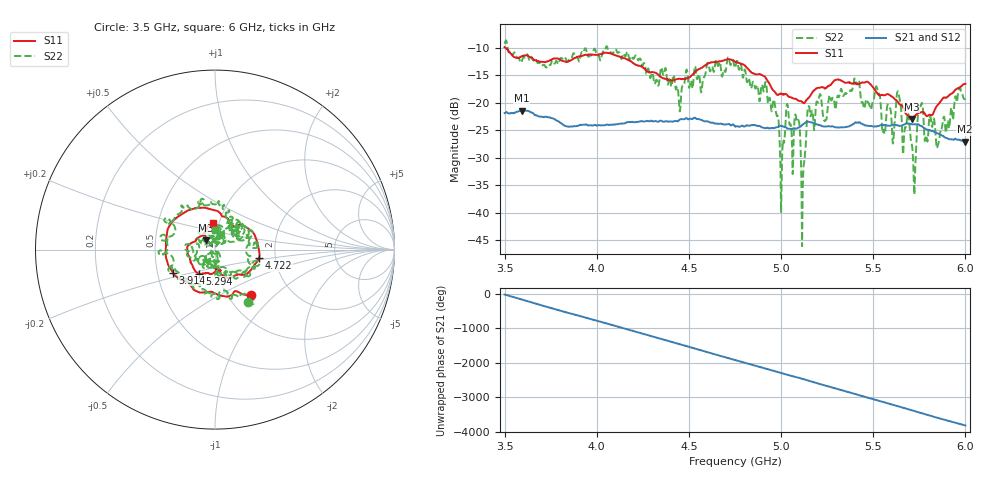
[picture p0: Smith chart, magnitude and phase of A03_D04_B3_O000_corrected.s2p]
! Created with skrf 1.9.0 (http://scikit-rf.org).
# Hz S RI R 50.0
!freq ReS11 ImS11 ReS21 ImS21 ReS12 ImS12 ReS22 ImS22
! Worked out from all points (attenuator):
!   1601 points, 3.5 GHz to 6 GHz, reference 50 ohm
!   highest |S21| = -21.39 dB at 3.592 GHz (marker M1); lowest = -27.1 dB at 5.997 GHz (marker M2)
!   lowest |S11| = -22.9 dB at 5.708 GHz (marker M3), VSWR 1.15, Z = 45.1 + j4.68 ohm
!   |S11| at or under -10 dB: 3.506 GHz to end of sweep
!   |S22| runs from -46.1 to -8.6 dB; largest |S21 - S12| = 0.0012
!   S11 on the Smith chart (normalised r, x): 3.5 GHz: 1.27, -0.72; 3.914 GHz: 0.60, -0.17; 4.722 GHz: 1.64, -0.16; 5.294 GHz: 0.81, -0.23; 6 GHz: 0.93, +0.28
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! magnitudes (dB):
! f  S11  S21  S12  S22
! 3.5 GHz  -9.8  -21.8  -21.8  -9.2
! 3.592 GHz  -11.5  -21.4  -21.4  -12.5
! 3.914 GHz  -11.5  -24.0  -23.9  -11.1
! 3.917 GHz  -11.5  -24.0  -24.0  -10.8
! 4.334 GHz  -14.9  -23.4  -23.3  -16.9
! 4.722 GHz  -12.1  -23.9  -23.9  -12.7
! 4.75 GHz  -12.5  -24.3  -24.2  -13.6
! 4.967 GHz  -18.0  -24.5  -24.4  -20.5
! 5.005 GHz  -18.3  -24.2  -24.2  -30.6
! 5.033 GHz  -18.5  -24.6  -24.5  -20.2
! 5.088 GHz  -19.4  -24.6  -24.6  -23.3
! 5.119 GHz  -19.9  -23.9  -23.8  -34.1
! 5.167 GHz  -18.2  -23.6  -23.5  -21.4
! 5.294 GHz  -15.8  -24.4  -24.3  -21.1
! 5.584 GHz  -18.5  -24.1  -24.1  -20.5
! 5.638 GHz  -20.0  -24.1  -24.1  -18.2
! 5.708 GHz  -22.9  -23.9  -23.8  -27.4
! 5.725 GHz  -22.3  -23.9  -23.8  -35.4
! 5.756 GHz  -21.7  -24.2  -24.1  -20.6
! 5.85 GHz  -20.4  -25.6  -25.5  -27.7
! 5.997 GHz  -16.6  -27.1  -27.0  -19.3
! 6 GHz  -16.5  -27.1  -27.0  -19.2
